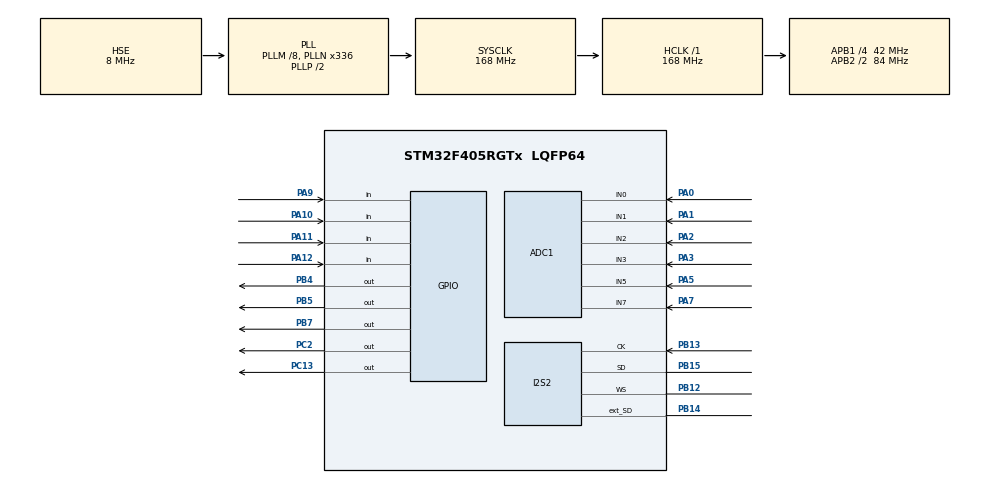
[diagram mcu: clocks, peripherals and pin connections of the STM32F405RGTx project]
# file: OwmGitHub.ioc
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ADC1.Channel-0\#ChannelRegularConversion=ADC_CHANNEL_0
ADC1.Channel-1\#ChannelRegularConversion=ADC_CHANNEL_1
ADC1.Channel-2\#ChannelRegularConversion=ADC_CHANNEL_2
ADC1.Channel-3\#ChannelRegularConversion=ADC_CHANNEL_3
ADC1.Channel-4\#ChannelRegularConversion=ADC_CHANNEL_5
ADC1.Channel-5\#ChannelRegularConversion=ADC_CHANNEL_7
ADC1.ContinuousConvMode=ENABLE
ADC1.DMAContinuousRequests=ENABLE
ADC1.NbrOfConversion=6
ADC1.NbrOfConversionFlag=1
ADC1.Rank-0\#ChannelRegularConversion=1
ADC1.Rank-1\#ChannelRegularConversion=2
ADC1.Rank-2\#ChannelRegularConversion=3
ADC1.Rank-3\#ChannelRegularConversion=4
ADC1.Rank-4\#ChannelRegularConversion=5
ADC1.Rank-5\#ChannelRegularConversion=6
ADC1.SamplingTime-0\#ChannelRegularConversion=ADC_SAMPLETIME_144CYCLES
ADC1.SamplingTime-1\#ChannelRegularConversion=ADC_SAMPLETIME_144CYCLES
ADC1.SamplingTime-2\#ChannelRegularConversion=ADC_SAMPLETIME_144CYCLES
ADC1.SamplingTime-3\#ChannelRegularConversion=ADC_SAMPLETIME_144CYCLES
ADC1.SamplingTime-4\#ChannelRegularConversion=ADC_SAMPLETIME_144CYCLES
ADC1.SamplingTime-5\#ChannelRegularConversion=ADC_SAMPLETIME_144CYCLES
ADC1.master=1
Dma.ADC1.0.Direction=DMA_PERIPH_TO_MEMORY
Dma.ADC1.0.FIFOMode=DMA_FIFOMODE_DISABLE
Dma.ADC1.0.Instance=DMA2_Stream0
Dma.ADC1.0.MemDataAlignment=DMA_MDATAALIGN_HALFWORD
Dma.ADC1.0.MemInc=DMA_MINC_ENABLE
Dma.ADC1.0.Mode=DMA_CIRCULAR
Dma.ADC1.0.PeriphDataAlignment=DMA_PDATAALIGN_HALFWORD
Dma.ADC1.0.PeriphInc=DMA_PINC_DISABLE
Dma.ADC1.0.Priority=DMA_PRIORITY_LOW
Dma.I2S2_EXT_RX.1.Direction=DMA_PERIPH_TO_MEMORY
Dma.I2S2_EXT_RX.1.FIFOMode=DMA_FIFOMODE_DISABLE
Dma.I2S2_EXT_RX.1.Instance=DMA1_Stream3
Dma.I2S2_EXT_RX.1.MemDataAlignment=DMA_MDATAALIGN_HALFWORD
Dma.I2S2_EXT_RX.1.MemInc=DMA_MINC_ENABLE
Dma.I2S2_EXT_RX.1.Mode=DMA_CIRCULAR
Dma.I2S2_EXT_RX.1.PeriphDataAlignment=DMA_PDATAALIGN_HALFWORD
Dma.I2S2_EXT_RX.1.PeriphInc=DMA_PINC_DISABLE
Dma.I2S2_EXT_RX.1.Priority=DMA_PRIORITY_VERY_HIGH
Dma.Request0=ADC1
Dma.Request1=I2S2_EXT_RX
Dma.Request2=SPI2_TX
Dma.SPI2_TX.2.Direction=DMA_MEMORY_TO_PERIPH
Dma.SPI2_TX.2.FIFOMode=DMA_FIFOMODE_DISABLE
Dma.SPI2_TX.2.Instance=DMA1_Stream4
Dma.SPI2_TX.2.MemDataAlignment=DMA_MDATAALIGN_HALFWORD
Dma.SPI2_TX.2.MemInc=DMA_MINC_ENABLE
Dma.SPI2_TX.2.Mode=DMA_CIRCULAR
Dma.SPI2_TX.2.PeriphDataAlignment=DMA_PDATAALIGN_HALFWORD
Dma.SPI2_TX.2.PeriphInc=DMA_PINC_DISABLE
Dma.SPI2_TX.2.Priority=DMA_PRIORITY_VERY_HIGH
I2S2.AudioFreq=I2S_AUDIOFREQ_48K
I2S2.DataFormat=I2S_DATAFORMAT_32B
I2S2.ErrorAudioFreq=0.02 %
I2S2.FullDuplexMode=I2S_FULLDUPLEXMODE_ENABLE
I2S2.Instance=SPI$Index
I2S2.RealAudioFreq=48.014 KHz
I2S2.VirtualMode=I2S_MODE_SLAVE
Mcu.Family=STM32F4
Mcu.Name=STM32F405RGTx
Mcu.Package=LQFP64
NVIC.DMA1_Stream3_IRQn=true\:0\:0\:true\:false\:true\:false\:true
NVIC.DMA1_Stream4_IRQn=true\:0\:0\:true\:false\:true\:false\:true
NVIC.DMA2_Stream0_IRQn=true\:5\:0\:true\:false\:true\:false\:true
NVIC.PriorityGroup=NVIC_PRIORITYGROUP_4
PA0-WKUP.Signal=ADCx_IN0
PA1.Signal=ADCx_IN1
PA10.Signal=GPIO_Input
PA11.Signal=GPIO_Input
PA12.Signal=GPIO_Input
PA13.Mode=Serial_Wire
PA13.Signal=SYS_JTMS-SWDIO
PA14.Mode=Serial_Wire
PA14.Signal=SYS_JTCK-SWCLK
PA2.Signal=ADCx_IN2
PA3.Signal=ADCx_IN3
PA5.Signal=ADCx_IN5
PA7.Signal=ADCx_IN7
PA9.Signal=GPIO_Input
PB12.Mode=Full_Duplex_Slave
PB12.Signal=I2S2_WS
PB13.Mode=Full_Duplex_Slave
PB13.Signal=I2S2_CK
PB14.Mode=Full_Duplex_Slave
PB14.Signal=I2S2_ext_SD
PB15.Mode=Full_Duplex_Slave
PB15.Signal=I2S2_SD
PB3.Signal=SYS_JTDO-SWO
PB4.Signal=GPIO_Output
PB5.Signal=GPIO_Output
PB7.Signal=GPIO_Output
PC13-ANTI_TAMP.Signal=GPIO_Output
PC2.Signal=GPIO_Output
PH0-OSC_IN.Mode=HSE-External-Oscillator
PH0-OSC_IN.Signal=RCC_OSC_IN
PH1-OSC_OUT.Mode=HSE-External-Oscillator
PH1-OSC_OUT.Signal=RCC_OSC_OUT
ProjectManager.HeapSize=0x200
ProjectManager.StackSize=0x400
ProjectManager.TargetToolchain=TrueSTUDIO
RCC.48MHZClocksFreq_Value=84000000
RCC.AHBFreq_Value=168000000
RCC.APB1CLKDivider=RCC_HCLK_DIV4
RCC.APB1Freq_Value=42000000
RCC.APB1TimFreq_Value=84000000
RCC.APB2CLKDivider=RCC_HCLK_DIV2
RCC.APB2Freq_Value=84000000
RCC.APB2TimFreq_Value=168000000
RCC.CortexFreq_Value=168000000
RCC.HCLKFreq_Value=168000000
RCC.HSE_VALUE=8000000
RCC.HSI_VALUE=16000000
RCC.LSE_VALUE=32768
RCC.PLLI2SN=295
RCC.PLLI2SR=3
RCC.PLLM=8
RCC.PLLN=336
RCC.PLLSourceVirtual=RCC_PLLSOURCE_HSE
RCC.SYSCLKFreq_VALUE=168000000
RCC.SYSCLKSource=RCC_SYSCLKSOURCE_PLLCLK
RCC.VCOOutputFreq_Value=336000000
SH.ADCx_IN0.0=ADC1_IN0,IN0
SH.ADCx_IN1.0=ADC1_IN1,IN1
SH.ADCx_IN2.0=ADC1_IN2,IN2
SH.ADCx_IN3.0=ADC1_IN3,IN3
SH.ADCx_IN5.0=ADC1_IN5,IN5
SH.ADCx_IN7.0=ADC1_IN7,IN7
board=custom

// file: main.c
/* USER CODE BEGIN Header */
/**
  ******************************************************************************
  * @file           : main.c
  * @brief          : Main program body
  ******************************************************************************
  ** This notice applies to any and all portions of this file
  * that are not between comment pairs USER CODE BEGIN and
  * USER CODE END. Other portions of this file, whether
  * inserted by the user or by software development tools
  * are owned by their respective copyright owners.
  *
  * COPYRIGHT(c) 2019 STMicroelectronics
  *
  * Redistribution and use in source and binary forms, with or without modification,
  * are permitted provided that the following conditions are met:
  *   1. Redistributions of source code must retain the above copyright notice,
  *      this list of conditions and the following disclaimer.
  *   2. Redistributions in binary form must reproduce the above copyright notice,
  *      this list of conditions and the following disclaimer in the documentation
  *      and/or other materials provided with the distribution.
  *   3. Neither the name of STMicroelectronics nor the names of its contributors
  *      may be used to endorse or promote products derived from this software
  *      without specific prior written permission.
  *
  * THIS SOFTWARE IS PROVIDED BY THE COPYRIGHT HOLDERS AND CONTRIBUTORS "AS IS"
  * AND ANY EXPRESS OR IMPLIED WARRANTIES, INCLUDING, BUT NOT LIMITED TO, THE
  * IMPLIED WARRANTIES OF MERCHANTABILITY AND FITNESS FOR A PARTICULAR PURPOSE ARE
  * DISCLAIMED. IN NO EVENT SHALL THE COPYRIGHT HOLDER OR CONTRIBUTORS BE LIABLE
  * FOR ANY DIRECT, INDIRECT, INCIDENTAL, SPECIAL, EXEMPLARY, OR CONSEQUENTIAL
  * DAMAGES (INCLUDING, BUT NOT LIMITED TO, PROCUREMENT OF SUBSTITUTE GOODS OR
  * SERVICES; LOSS OF USE, DATA, OR PROFITS; OR BUSINESS INTERRUPTION) HOWEVER
  * CAUSED AND ON ANY THEORY OF LIABILITY, WHETHER IN CONTRACT, STRICT LIABILITY,
  * OR TORT (INCLUDING NEGLIGENCE OR OTHERWISE) ARISING IN ANY WAY OUT OF THE USE
  * OF THIS SOFTWARE, EVEN IF ADVISED OF THE POSSIBILITY OF SUCH DAMAGE.
  *
  ******************************************************************************
  */
/* USER CODE END Header */

#include "main.h"

ADC_HandleTypeDef hadc1;
DMA_HandleTypeDef hdma_adc1;

I2S_HandleTypeDef hi2s2;
DMA_HandleTypeDef hdma_i2s2_ext_rx;
DMA_HandleTypeDef hdma_spi2_tx;

void SystemClock_Config(void);
static void MX_GPIO_Init(void);
static void MX_DMA_Init(void);
static void MX_ADC1_Init(void);
static void MX_I2S2_Init(void);

/* USER CODE BEGIN 0 */

volatile int32_t RX_BUFFER[BLOCK_SIZE*2] = {}; // 受信バッファ
volatile int32_t TX_BUFFER[BLOCK_SIZE*2] = {}; // 送信バッファ
volatile uint16_t pot[6] = {}; // ポット読取値
volatile uint8_t sw[4] = {};   // スイッチオン・オフ状態

/* USER CODE END 0 */

int main(void)
{

  /* MCU Configuration--------------------------------------------------------*/

  /* Reset of all peripherals, Initializes the Flash interface and the Systick. */
  HAL_Init();

  /* Configure the system clock */
  SystemClock_Config();

  /* Initialize all configured peripherals */
  MX_GPIO_Init();
  MX_DMA_Init();
  MX_ADC1_Init();
  MX_I2S2_Init();
  /* USER CODE BEGIN 2 */

  // I2SとADCのDMA開始
  HAL_I2SEx_TransmitReceive_DMA(&hi2s2,(uint16_t*)TX_BUFFER,(uint16_t*)RX_BUFFER,BLOCK_SIZE*2);
  HAL_ADC_Start_DMA(&hadc1, (uint32_t *)pot, 6);

  // 割り込みが受信と送信で2回発生しないよう片方の割り込みを無効化
  HAL_NVIC_DisableIRQ(DMA1_Stream4_IRQn);

  // I2Sのフレームエラー発生の場合、ソフトリセットを繰り返す
  HAL_Delay(300);
  if (__HAL_I2S_GET_FLAG(&hi2s2, I2S_FLAG_FRE)) NVIC_SystemReset();

  // 基板上のLED点灯（起動確認）
  HAL_GPIO_WritePin(GPIOC, GPIO_PIN_13, GPIO_PIN_SET);

  // スイッチ用カウンタ
  uint32_t swcount[4] = {};

  /* USER CODE END 2 */

  /* Infinite loop */
  while (1)
  {

    /* USER CODE BEGIN 3 */

    if (!(HAL_GPIO_ReadPin(GPIOA, GPIO_PIN_9))) // 左スイッチ
    {
      swcount[0]++;
      if (swcount[0] == 2 ) // スイッチ押下時スイッチ状態切替、LED点灯切替
      {
        sw[0] = !sw[0];
        HAL_GPIO_TogglePin(GPIOB, GPIO_PIN_5);
      }
    }
    else swcount[0] = 0;
    if (!(HAL_GPIO_ReadPin(GPIOA, GPIO_PIN_10))) // 中央スイッチ
    {
      swcount[1]++;
      if (swcount[1] == 2 )
      {
        sw[1] = !sw[1];
        HAL_GPIO_TogglePin(GPIOB, GPIO_PIN_7);
      }
    }
    else swcount[1] = 0;
    if (!(HAL_GPIO_ReadPin(GPIOA, GPIO_PIN_11))) // 右スイッチ
    {
      swcount[2]++;
      if (swcount[2] == 2 )
      {
        sw[2] = !sw[2];
        HAL_GPIO_TogglePin(GPIOB, GPIO_PIN_4);
      }
    }
    else swcount[2] = 0;
    if (!(HAL_GPIO_ReadPin(GPIOA, GPIO_PIN_12))) // フットスイッチ
    {
      swcount[3]++;
      if (swcount[3] == 2 )
      {
        sw[3] = !sw[3];
        HAL_GPIO_TogglePin(GPIOB, GPIO_PIN_7);
      }
    }
    else swcount[3] = 0;

    HAL_Delay(1);
  }

  /* USER CODE END 3 */
}

void SystemClock_Config(void)
{
  RCC_OscInitTypeDef RCC_OscInitStruct = {0};
  RCC_ClkInitTypeDef RCC_ClkInitStruct = {0};
  RCC_PeriphCLKInitTypeDef PeriphClkInitStruct = {0};

  /** Configure the main internal regulator output voltage
  */
  __HAL_RCC_PWR_CLK_ENABLE();
  __HAL_PWR_VOLTAGESCALING_CONFIG(PWR_REGULATOR_VOLTAGE_SCALE1);
  /** Initializes the CPU, AHB and APB busses clocks
  */
  RCC_OscInitStruct.OscillatorType = RCC_OSCILLATORTYPE_HSE;
  RCC_OscInitStruct.HSEState = RCC_HSE_ON;
  RCC_OscInitStruct.PLL.PLLState = RCC_PLL_ON;
  RCC_OscInitStruct.PLL.PLLSource = RCC_PLLSOURCE_HSE;
  RCC_OscInitStruct.PLL.PLLM = 8;
  RCC_OscInitStruct.PLL.PLLN = 336;
  RCC_OscInitStruct.PLL.PLLP = RCC_PLLP_DIV2;
  RCC_OscInitStruct.PLL.PLLQ = 4;
  if (HAL_RCC_OscConfig(&RCC_OscInitStruct) != HAL_OK)
  {
    Error_Handler();
  }
  /** Initializes the CPU, AHB and APB busses clocks
  */
  RCC_ClkInitStruct.ClockType = RCC_CLOCKTYPE_HCLK|RCC_CLOCKTYPE_SYSCLK
                              |RCC_CLOCKTYPE_PCLK1|RCC_CLOCKTYPE_PCLK2;
  RCC_ClkInitStruct.SYSCLKSource = RCC_SYSCLKSOURCE_PLLCLK;
  RCC_ClkInitStruct.AHBCLKDivider = RCC_SYSCLK_DIV1;
  RCC_ClkInitStruct.APB1CLKDivider = RCC_HCLK_DIV4;
  RCC_ClkInitStruct.APB2CLKDivider = RCC_HCLK_DIV2;

  if (HAL_RCC_ClockConfig(&RCC_ClkInitStruct, FLASH_LATENCY_5) != HAL_OK)
  {
    Error_Handler();
  }
  PeriphClkInitStruct.PeriphClockSelection = RCC_PERIPHCLK_I2S;
  PeriphClkInitStruct.PLLI2S.PLLI2SN = 295;
  PeriphClkInitStruct.PLLI2S.PLLI2SR = 3;
  if (HAL_RCCEx_PeriphCLKConfig(&PeriphClkInitStruct) != HAL_OK)
  {
    Error_Handler();
  }
}

static void MX_ADC1_Init(void)
{

  ADC_ChannelConfTypeDef sConfig = {0};

  /** Configure the global features of the ADC (Clock, Resolution, Data Alignment and number of conversion)
  */
  hadc1.Instance = ADC1;
  hadc1.Init.ClockPrescaler = ADC_CLOCK_SYNC_PCLK_DIV4;
  hadc1.Init.Resolution = ADC_RESOLUTION_12B;
  hadc1.Init.ScanConvMode = ENABLE;
  hadc1.Init.ContinuousConvMode = ENABLE;
  hadc1.Init.DiscontinuousConvMode = DISABLE;
  hadc1.Init.ExternalTrigConvEdge = ADC_EXTERNALTRIGCONVEDGE_NONE;
  hadc1.Init.ExternalTrigConv = ADC_SOFTWARE_START;
  hadc1.Init.DataAlign = ADC_DATAALIGN_RIGHT;
  hadc1.Init.NbrOfConversion = 6;
  hadc1.Init.DMAContinuousRequests = ENABLE;
  hadc1.Init.EOCSelection = ADC_EOC_SINGLE_CONV;
  if (HAL_ADC_Init(&hadc1) != HAL_OK)
  {
    Error_Handler();
  }
  /** Configure for the selected ADC regular channel its corresponding rank in the sequencer and its sample time.
  */
  sConfig.Channel = ADC_CHANNEL_0;
  sConfig.Rank = 1;
  sConfig.SamplingTime = ADC_SAMPLETIME_144CYCLES;
  if (HAL_ADC_ConfigChannel(&hadc1, &sConfig) != HAL_OK)
  {
    Error_Handler();
  }
  /** Configure for the selected ADC regular channel its corresponding rank in the sequencer and its sample time.
  */
  sConfig.Channel = ADC_CHANNEL_1;
  sConfig.Rank = 2;
  if (HAL_ADC_ConfigChannel(&hadc1, &sConfig) != HAL_OK)
  {
    Error_Handler();
  }
  /** Configure for the selected ADC regular channel its corresponding rank in the sequencer and its sample time.
  */
  sConfig.Channel = ADC_CHANNEL_2;
  sConfig.Rank = 3;
  if (HAL_ADC_ConfigChannel(&hadc1, &sConfig) != HAL_OK)
  {
    Error_Handler();
  }
  /** Configure for the selected ADC regular channel its corresponding rank in the sequencer and its sample time.
  */
  sConfig.Channel = ADC_CHANNEL_3;
  sConfig.Rank = 4;
  if (HAL_ADC_ConfigChannel(&hadc1, &sConfig) != HAL_OK)
  {
    Error_Handler();
  }
  /** Configure for the selected ADC regular channel its corresponding rank in the sequencer and its sample time.
  */
  sConfig.Channel = ADC_CHANNEL_5;
  sConfig.Rank = 5;
  if (HAL_ADC_ConfigChannel(&hadc1, &sConfig) != HAL_OK)
  {
    Error_Handler();
  }
  /** Configure for the selected ADC regular channel its corresponding rank in the sequencer and its sample time.
  */
  sConfig.Channel = ADC_CHANNEL_7;
  sConfig.Rank = 6;
  if (HAL_ADC_ConfigChannel(&hadc1, &sConfig) != HAL_OK)
  {
    Error_Handler();
  }

}

static void MX_I2S2_Init(void)
{

  hi2s2.Instance = SPI2;
  hi2s2.Init.Mode = I2S_MODE_SLAVE_TX;
  hi2s2.Init.Standard = I2S_STANDARD_PHILIPS;
  hi2s2.Init.DataFormat = I2S_DATAFORMAT_32B;
  hi2s2.Init.MCLKOutput = I2S_MCLKOUTPUT_DISABLE;
  hi2s2.Init.AudioFreq = I2S_AUDIOFREQ_48K;
  hi2s2.Init.CPOL = I2S_CPOL_LOW;
  hi2s2.Init.ClockSource = I2S_CLOCK_PLL;
  hi2s2.Init.FullDuplexMode = I2S_FULLDUPLEXMODE_ENABLE;
  if (HAL_I2S_Init(&hi2s2) != HAL_OK)
  {
    Error_Handler();
  }

}

static void MX_DMA_Init(void)
{
  /* DMA controller clock enable */
  __HAL_RCC_DMA2_CLK_ENABLE();
  __HAL_RCC_DMA1_CLK_ENABLE();

  /* DMA interrupt init */
  /* DMA1_Stream3_IRQn interrupt configuration */
  HAL_NVIC_SetPriority(DMA1_Stream3_IRQn, 0, 0);
  HAL_NVIC_EnableIRQ(DMA1_Stream3_IRQn);
  /* DMA1_Stream4_IRQn interrupt configuration */
  HAL_NVIC_SetPriority(DMA1_Stream4_IRQn, 0, 0);
  HAL_NVIC_EnableIRQ(DMA1_Stream4_IRQn);
  /* DMA2_Stream0_IRQn interrupt configuration */
  HAL_NVIC_SetPriority(DMA2_Stream0_IRQn, 5, 0);
  HAL_NVIC_EnableIRQ(DMA2_Stream0_IRQn);

}

static void MX_GPIO_Init(void)
{
  GPIO_InitTypeDef GPIO_InitStruct = {0};

  /* GPIO Ports Clock Enable */
  __HAL_RCC_GPIOC_CLK_ENABLE();
  __HAL_RCC_GPIOH_CLK_ENABLE();
  __HAL_RCC_GPIOA_CLK_ENABLE();
  __HAL_RCC_GPIOB_CLK_ENABLE();

  /*Configure GPIO pin Output Level */
  HAL_GPIO_WritePin(GPIOC, GPIO_PIN_13|GPIO_PIN_2, GPIO_PIN_RESET);

  /*Configure GPIO pin Output Level */
  HAL_GPIO_WritePin(GPIOB, GPIO_PIN_4|GPIO_PIN_5|GPIO_PIN_7, GPIO_PIN_RESET);

  /*Configure GPIO pins : PC13 PC2 */
  GPIO_InitStruct.Pin = GPIO_PIN_13|GPIO_PIN_2;
  GPIO_InitStruct.Mode = GPIO_MODE_OUTPUT_PP;
  GPIO_InitStruct.Pull = GPIO_NOPULL;
  GPIO_InitStruct.Speed = GPIO_SPEED_FREQ_LOW;
  HAL_GPIO_Init(GPIOC, &GPIO_InitStruct);

  /*Configure GPIO pins : PA9 PA10 PA11 PA12 */
  GPIO_InitStruct.Pin = GPIO_PIN_9|GPIO_PIN_10|GPIO_PIN_11|GPIO_PIN_12;
  GPIO_InitStruct.Mode = GPIO_MODE_INPUT;
  GPIO_InitStruct.Pull = GPIO_NOPULL;
  HAL_GPIO_Init(GPIOA, &GPIO_InitStruct);

  /*Configure GPIO pins : PB4 PB5 PB7 */
  GPIO_InitStruct.Pin = GPIO_PIN_4|GPIO_PIN_5|GPIO_PIN_7;
  GPIO_InitStruct.Mode = GPIO_MODE_OUTPUT_PP;
  GPIO_InitStruct.Pull = GPIO_NOPULL;
  GPIO_InitStruct.Speed = GPIO_SPEED_FREQ_LOW;
  HAL_GPIO_Init(GPIOB, &GPIO_InitStruct);

}

/* USER CODE BEGIN 4 */

// DMA用に上位16ビットと下位16ビットを入れ替える
// 負の値の場合に備えて右シフトの場合0埋めする
int32_t swap16(int32_t x)
{
  return (0x0000FFFF & x >> 16) | x << 16;
}

void processing(int i)
{
  static float xl[BLOCK_SIZE] = {}; // Lch float計算用受信データ Rchは未使用
  static float yl[BLOCK_SIZE] = {}; // Lch float計算済送信データ

  // 受信データを計算用データ配列へ 値を-1～+1(float)へ変更
  xl[i] = (float) swap16(RX_BUFFER[i*2]) / 2147483648.0f;

  // エフェクト処理後、値を制限
  yl[i] = fmaxf(fminf(bypass(xl[i]), 0.99997f), -1.0f);

  // 計算済データを送信バッファへ 値を32ビット整数へ戻す
  TX_BUFFER[i*2] = swap16(2147483648.0f * yl[i]);
}

// I2Sの受信バッファに半分データがたまったときの割り込み
void HAL_I2SEx_TxRxHalfCpltCallback(I2S_HandleTypeDef *hi2s)
{
  for (int i = 0; i < BLOCK_SIZE/2; i++) processing(i);
}

// I2Sの受信バッファに全データがたまったときの割り込み
void HAL_I2SEx_TxRxCpltCallback(I2S_HandleTypeDef *hi2s)
{
  for (int i = BLOCK_SIZE/2; i < BLOCK_SIZE; i++) processing(i);
}

/* USER CODE END 4 */

void Error_Handler(void)
{
}

/************************ (C) COPYRIGHT STMicroelectronics *****END OF FILE****/
